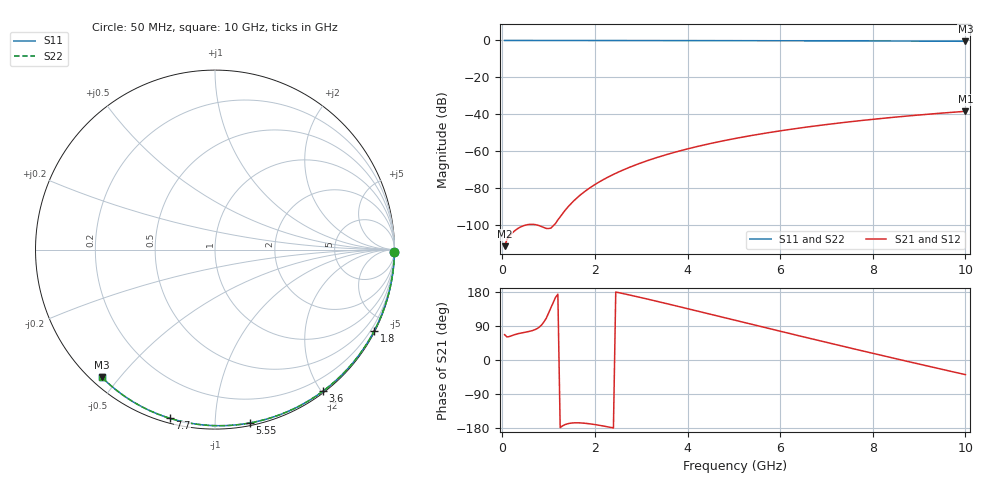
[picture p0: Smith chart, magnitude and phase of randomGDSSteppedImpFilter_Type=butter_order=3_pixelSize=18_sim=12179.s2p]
! freq	dB(S11)	phase(S11)	dB(S12)	phase(S12)
!  dB(S21)	phase(S21)	dB(S22)	phase(S22)
!S-par simulation data
#  GHz  S  DB  R 50
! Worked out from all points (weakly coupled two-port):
!   200 points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, 50 MHz to 10 GHz, reference 50 ohm
!   highest |S21| = -38.45 dB at 10 GHz (marker M1); lowest = -111.6 dB at 50 MHz (marker M2)
!   lowest |S11| = -0.4 dB at 10 GHz (marker M3), VSWR 39.10, Z = 1.54 - j22.5 ohm
!   |S11| at or under -10 dB: nowhere
!   |S22| runs from -0.4 to 0.0 dB; largest |S21 - S12| = 0
!   S11 on the Smith chart (normalised r, x): 50 MHz: open; 1.8 GHz: 0.04, -4.17; 3.6 GHz: 0.02, -2.02; 5.55 GHz: 0.02, -1.22; 7.7 GHz: 0.02, -0.77; 10 GHz: 0.03, -0.45
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0.05  -0.00 -0.8  -111.63 66.8  -111.63 66.8  -0.00 -0.8
0.45  -0.01 -6.8  -100.61 72.2  -100.61 72.2  -0.01 -6.8
0.9  -0.02 -13.6  -101.55 100.7  -101.55 100.7  -0.02 -13.6
1.75  -0.03 -26.2  -82.55 -166.6  -82.55 -166.6  -0.03 -26.2
1.8  -0.03 -26.9  -81.59 -167.1  -81.59 -167.1  -0.03 -26.9
1.9  -0.04 -28.4  -79.82 -168.6  -79.82 -168.6  -0.04 -28.4
2.05  -0.04 -30.6  -77.41 -171.4  -77.41 -171.4  -0.04 -30.6
2.25  -0.04 -33.5  -74.58 -175.7  -74.58 -175.7  -0.04 -33.5
2.45  -0.05 -36.4  -72.08 179.4  -72.08 179.4  -0.05 -36.4
2.65  -0.05 -39.3  -69.84 174.2  -69.84 174.2  -0.05 -39.3
3  -0.06 -44.3  -66.40 164.6  -66.40 164.6  -0.06 -44.3
3.4  -0.07 -49.9  -63.04 153.1  -63.04 153.1  -0.07 -49.9
3.6  -0.07 -52.7  -61.54 147.3  -61.54 147.3  -0.07 -52.7
4.3  -0.09 -62.3  -57.01 126.6  -57.01 126.6  -0.09 -62.2
5.05  -0.11 -72.2  -53.08 104.2  -53.08 104.2  -0.11 -72.2
5.55  -0.13 -78.7  -50.85 89.3  -50.85 89.3  -0.13 -78.7
6.1  -0.15 -85.7  -48.68 73.0  -48.68 73.0  -0.15 -85.6
6.7  -0.18 -93.1  -46.58 55.3  -46.58 55.3  -0.18 -93.0
7.7  -0.24 -105.1  -43.59 26.2  -43.59 26.2  -0.24 -105.0
8.35  -0.29 -112.7  -41.92 7.6  -41.92 7.6  -0.29 -112.6
9.15  -0.36 -121.9  -40.12 -15.0  -40.12 -15.0  -0.36 -121.8
10  -0.44 -131.5  -38.45 -38.6  -38.45 -38.6  -0.44 -131.4
